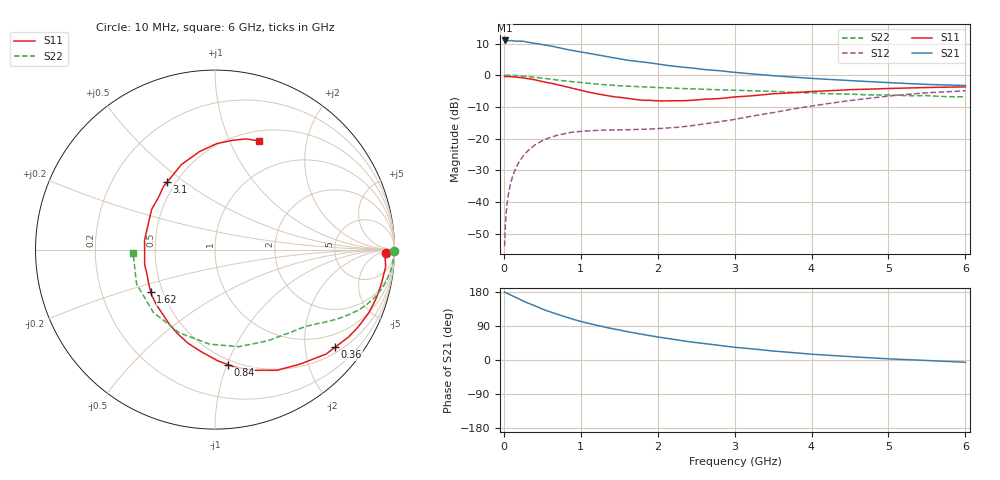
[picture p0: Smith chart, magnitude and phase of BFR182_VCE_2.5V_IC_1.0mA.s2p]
! Infineon Technologies  Discrete & RF Semiconductors
! BFR182
! VCE =  2.5 V,  IC =  1.0 mA
! Common Emitter S-Parameters:  Nov 2015
# GHz  S  MA  R  50
!  f  S11  S21  S12  S22
! GHz  MAG  ANG  MAG  ANG  MAG  ANG  MAG  ANG
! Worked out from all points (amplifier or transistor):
!   210 points, 10 MHz to 6 GHz, reference 50 ohm
!   highest |S21| = 11.0 dB at 10 MHz (marker M1)
!   |S21| within 3 dB of that: start of sweep to 850.2 MHz
!   unconditionally stable (mu >= 1): 1.773 GHz to 3.285 GHz
!   at 185 MHz: K = 0.13, MSG = 19.4 dB, |S12| = -28.0 dB
!   at 1.52 GHz: K = 0.88, MSG = 11.2 dB, |S12| = -17.3 dB
!   at 6 GHz: K = 0.95, MSG = 0.8 dB, |S12| = -4.9 dB
!   S11 on the Smith chart (normalised r, x): 10 MHz: 34, -16; 360 MHz: 0.63, -2.68; 840 MHz: 0.46, -1.01; 1.62 GHz: 0.43, -0.25; 3.1 GHz: 0.45, +0.43; 6 GHz: 0.61, +1.29
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0.01  0.9531 -1.3  3.533 179.3  0.002 91.6  0.9991 -0.5
0.02  0.9474 -2.0  3.458 178.0  0.0043 86.9  0.9956 -0.9
0.04  0.9524 -4.4  3.471 176.2  0.0089 86.5  0.9965 -1.8
0.06  0.9532 -6.7  3.487 174.4  0.0134 85.5  0.9961 -2.7
0.1  0.9473 -11.2  3.53 170.8  0.022 83.6  0.9928 -4.4
0.16  0.9358 -17.7  3.445 164.3  0.0349 78.6  0.9843 -7.2
0.26  0.9036 -29.1  3.42 155.0  0.0545 72.0  0.9656 -11.4
0.36  0.8623 -39.1  3.238 146.6  0.0719 66.3  0.9392 -15.2
0.5  0.7941 -53.5  3.051 134.2  0.0924 59.1  0.8992 -19.9
0.6  0.7555 -62.9  2.915 126.9  0.1039 54.2  0.8676 -22.9
0.7  0.7075 -71.9  2.741 120.2  0.113 50.4  0.8367 -25.3
0.84  0.6444 -83.7  2.515 111.3  0.1228 45.8  0.8015 -28.1
1.02  0.5678 -99.1  2.308 100.9  0.1305 41.5  0.76 -31.3
1.18  0.5171 -112.6  2.132 92.7  0.1339 39.0  0.7284 -33.9
1.3  0.4864 -121.7  2.004 87.3  0.136 38.0  0.708 -35.4
1.62  0.4293 -146.5  1.714 74.2  0.1379 37.7  0.6696 -39.5
2.02  0.3926 -176.3  1.489 60.2  0.1441 42.0  0.6361 -44.8
2.4  0.3985 158.8  1.32 48.5  0.157 48.4  0.6101 -50.9
3.1  0.4609 125.4  1.08 31.8  0.2117 55.8  0.5716 -65.4
4.1  0.559 96.9  0.875 14.1  0.3398 52.1  0.5181 -97.1
5.1  0.6214 79.4  0.753 2.2  0.4795 38.0  0.482 -138.7
6  0.6531 68.0  0.687 -6.0  0.5683 21.7  0.457 -177.7
